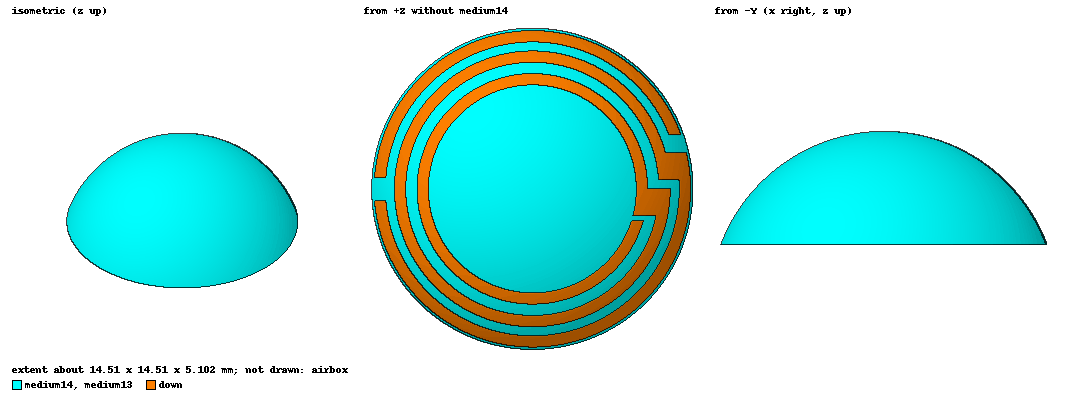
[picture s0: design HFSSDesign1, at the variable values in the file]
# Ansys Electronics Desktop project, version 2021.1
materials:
  vacuum: permittivity=1
  copper: permeability=0.999991 conductivity=58000000
  PDMS: permittivity=2.75 dielectric_loss_tangent=0.05
  air: permittivity=1.0006 permeability=1.0000004
  shimoxi: permittivity=4.5 conductivity=100000000
  SiNingjiao: permittivity=2.63
  silver: permeability=0.99998 conductivity=100000
  Cornea: permittivity=51.7 conductivity=2.26
  lens: permittivity=34 conductivity=1.06
  Sclear: permittivity=52.7 conductivity=2
  vitreoushumour: permittivity=68.2 conductivity=2.44

design HFSSDesign1 (HFSS, DrivenModal, model units mm)
options: Calculate_Lossy_Dielectrics Save_Adaptive_support_files
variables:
  h1 = 10um  # The thickness of copper
  r2 = 7mm  # The radius of PDMS
  h2 = 100um  # The thickness of PDMS
  r31 = 7mm  # The radius of copper
  w3 = D1
  r32 = r31-w3
  h3 = 10um
  g1 = 1mm  # The length of port
  wc = D4
  D1 = 0.5mm  # The width of the first ring from the outside to the inside
  D2 = 0.5mm  # The width of the second ring from the outside to the inside
  D3 = 0.5mm  # The width of the third ring from the outside to the inside
  D4 = 0.8mm  # The opening size of the first circle from the outside to the inside
  D5 = 1.2mm  # The width of the connecting part between adjacent circles
  D6 = 0.4mm  # The distance between the first circle and the second circle from outside to inside
  D7 = 0.5mm  # The distance between the second circle and the third circle from the outside to the inside
  roa = 0deg
  r33 = r32-D6
  r34 = r33-w4
  r35 = r34-D7
  r36 = r35-w5
  w4 = D2
  w5 = D3
  r37 = r36-D7
  rq = 7.5mm  # Radius of curvature
  r11 = 7mm
  wl = D3
  mov = D5
  dw = D4
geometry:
  downRing = cylinder(axis=Z, base_centre=(0mm, 0mm, 0), radius=r31, height=100mm, segments=0mm)
  downRing2 = cylinder(axis=Z, base_centre=(0mm, 0mm, 0mm), radius=r32, height=100mm)
  airbox [air] = cylinder(axis=Z, base_centre=(0mm, 0mm, -8.2cm), radius=8.2cm+r2, height=h1+h2+16.4cm)
  downRing.subtract(downRing2)
  Box73 = box(corner=(-(r2-w3-0.1MM), -g1/2, -10mm), size=(-r2, 1mm, 100mm))
  downRing3 = cylinder(axis=Z, base_centre=(0mm, 0mm, 0), radius=r33, height=100mm)
  downRing4 = cylinder(axis=Z, base_centre=(0mm, 0mm, 0mm), radius=r34, height=100mm)
  downRing3.subtract(downRing4)
  downRing5 = cylinder(axis=Z, base_centre=(0mm, 0mm, 0), radius=r35, height=100mm)
  downRing6 = cylinder(axis=Z, base_centre=(0mm, 0mm, 0mm), radius=r36, height=100mm)
  downRing5.subtract(downRing6)
  Box76 = box(corner=(r31, wc/2+D5, 0), size=(-8mm, wc, 100mm))
  Box76.rotate(axis=Z, angle=roa)
  Box77 = box(corner=(r32, wc/2, 0mm), size=(-(r32-r35), D5, 100mm))
  Box78 = box(corner=(r34, 0, 0mm), size=(-r34, -D5, 100mm))
  [Box77, Box78].rotate(axis=Z, angle=roa)
  Box82 = box(corner=(r33, wc/2, 0), size=(r35-r33, -wc/2, 100mm))
  Box82.rotate(axis=Z, angle=roa)
  Box83 = box(corner=(r35, -D5, 0), size=(-r35, -wc/4, 100mm))
  Box83.rotate(axis=Z, angle=roa)
  downRing.subtract(Box73)
  downRing3.subtract(Box82)
  downRing5.subtract(Box83)
  Medium3 = cylinder(axis=Z, base_centre=(0mm, 0mm, 0), radius=r2, height=100mm)
  Medium4 = cylinder(axis=Z, base_centre=(0mm, 0mm, 0), radius=r33, height=100mm)
  Medium3.subtract(Medium4)
  downRing.subtract(Box76)
  Medium9 = cylinder(axis=Z, base_centre=(0mm, 0mm, 0), radius=r34, height=100mm)
  Medium10 = cylinder(axis=Z, base_centre=(0mm, 0mm, 0), radius=r35, height=100)
  Medium9.subtract(Medium10)
  downRing.unite(Box77)
  downRing.subtract(Medium9)
  downRing3.unite(Box78)
  Medium12 = cylinder(axis=Z, base_centre=(0mm, 0mm, 0), radius=r36, height=100mm, segments=0mm)
  downRing3.subtract(Medium12)
  medium13 [PDMS] = sphere(centre=(0mm, 0mm, 0), radius=rq+h2)
  Sphere9 = sphere(centre=(0mm, 0mm, 0), radius=rq)
  medium13.subtract(Sphere9)
  Cylinder5 = cylinder(axis=Z, base_centre=(0mm, 0, -10cm), radius=10cm, height=(rq^2-r11^2)^0.5+10cm)
  medium13.subtract(Cylinder5)
  down [copper] = sphere(centre=(0mm, 0mm, 0), radius=rq+h2+h3)
  Sphere17 = sphere(centre=(0mm, 0mm, 0), radius=rq+h2)
  down.subtract(Sphere17)
  Cylinder6 = cylinder(axis=Z, base_centre=(0mm, 0, -10cm), radius=10cm, height=(rq^2-r11^2)^0.5+10cm)
  down.subtract(Cylinder6)
  port2 = polyline((-(r11-0.035mm), -0.5mm, ((rq+h2+h3)^2-(r11-0.03mm)^2)^0.5-0.05mm) (-(r11-0.035mm), 0.5mm, ((rq+h2+h3)^2-(r11-0.03mm)^2)^0.5-0.05mm) (-(r11-0.025mm), 0.5mm, ((rq+h2+h3)^2-(r11-0.03mm)^2)^0.5-0.07mm) (-(r11-0.025mm), -0.5mm, ((rq+h2+h3)^2-(r11-0.03mm)^2)^0.5-0.07mm) (-(r11-0.035mm), -0.5mm, ((rq+h2+h3)^2-(r11-0.03mm)^2)^0.5-0.05mm), closed, covered)
  coordinate_system RelativeCS1 = origin=(0mm, 0mm, -5.3mm) x=(0mm, 1mm, 0mm) y=(0mm, 0mm, 1mm)
  downRing3.unite(downRing5)
  downRing3.subtract(Medium3)
  downRing.unite(downRing3)
  down.intersect(downRing)
  medium14 [PDMS] = sphere(centre=(0mm, 0mm, 0), radius=rq+h2+h1+h2)
  Sphere18 = sphere(centre=(0mm, 0mm, 0), radius=rq+h2+h1)
  medium14.subtract(Sphere18)
  Cylinder7 = cylinder(axis=Z, base_centre=(0mm, 0, -10cm), radius=10cm, height=(rq^2-r11^2)^0.5+10cm)
  medium14.subtract(Cylinder7)
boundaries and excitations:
  Rad1: Radiation Objects=airbox
  1: Lumped Port Objects=port2 Modes{Mode1{IntLine{middle of port2.edge(4 of 4) -> middle of port2.edge(2 of 4)} CharImp=Zpi}} Impedance="(30.53-211.81*1i) ohm"
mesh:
  initial mesh: GlobalSurfApproximation{CurvedSurfaceApproxChoice=UseSlider SliderMeshSettings=1}
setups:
  Setup1: HfssDriven Frequency=0.922GHz MaxDeltaS=0.1 MaximumPasses=10 MinimumPasses=1 MinimumConvergedPasses=1 PercentRefinement=30 BasisOrder=1 PortAccuracy=2
    sweep Sweep: 0.921GHz to 0.923GHz step 0.001GHz; Type=Fast SaveFields
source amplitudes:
  1:1: 1W 0deg
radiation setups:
  EH: Infinite Sphere Theta=0deg..180deg step 1deg Phi=0deg..360deg step 1deg
